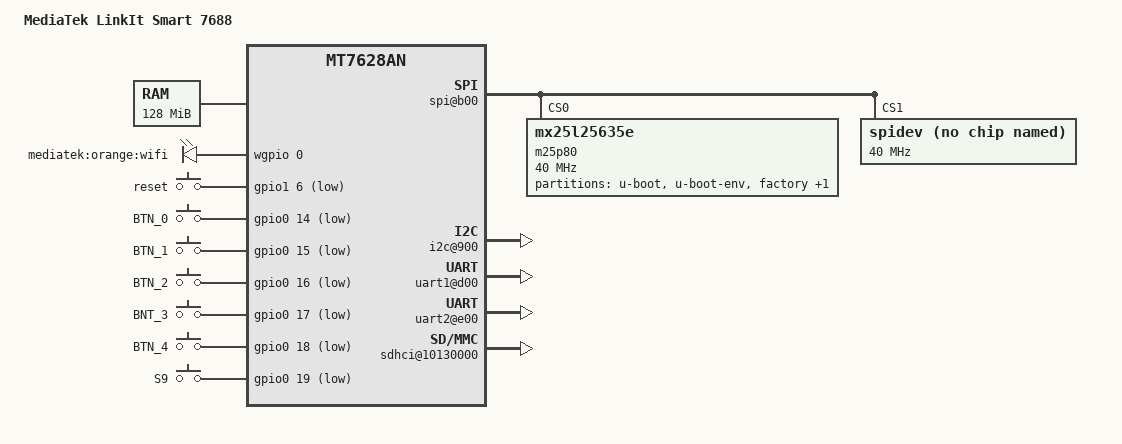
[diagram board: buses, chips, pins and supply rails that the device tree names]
/dts-v1/;

/include/ "mt7628an.dtsi"

/ {
	compatible = "mediatek,linkit", "mediatek,mt7628an-soc";
	model = "MediaTek LinkIt Smart 7688";

	chosen {
		bootargs = "console=ttyS2,57600";
	};

	memory@0 {
		device_type = "memory";
		reg = <0x0 0x8000000>;
	};

	pinctrl {
		state_default: pinctrl0 {
			gpio {
				ralink,group = "gpio";
				ralink,function = "gpio";
			};
			perst {
				ralink,group = "perst";
				ralink,function = "gpio";
			};
			refclk {
				ralink,group = "refclk";
				ralink,function = "gpio";
			};
			i2s {
				ralink,group = "i2s";
				ralink,function = "gpio";
			};
			spis {
				ralink,group = "spis";
				ralink,function = "gpio";
			};
			wled_kn {
				ralink,group = "wled_kn";
				ralink,function = "gpio";
			};
			wled_an {
				ralink,group = "wled_an";
				ralink,function = "wled_an";
			};
			wdt {
				ralink,group = "wdt";
				ralink,function = "gpio";
			};
		};
	};

	palmbus@10000000 {
		spi@b00 {
			status = "okay";

			pinctrl-names = "default";
			pinctrl-0 = <&spi_pins>, <&spi_cs1_pins>;

			m25p80@0 {
				#address-cells = <1>;
				#size-cells = <1>;
				compatible = "mx25l25635e";
				reg = <0 0>;
				linux,modalias = "m25p80", "mx25l25635e";
				spi-max-frequency = <40000000>;
				m25p,chunked-io = <31>;

				partition@0 {
					label = "u-boot";
					reg = <0x0 0x30000>;
					read-only;
				};

				partition@30000 {
					label = "u-boot-env";
					reg = <0x30000 0x10000>;
				};

				factory: partition@40000 {
					label = "factory";
					reg = <0x40000 0x10000>;
					//read-only;
				};

				partition@50000 {
					label = "firmware";
					reg = <0x50000 0x1fb0000>;
				};
			};

			spidev@1 {
				#address-cells = <1>;
				#size-cells = <1>;
				compatible = "spidev";
				reg = <1 0>;
				spi-max-frequency = <40000000>;
			};
		};

		i2c@900 {
			status = "okay";
		};

		uart1@d00 {
			status = "okay";
		};

		uart2@e00 {
			status = "okay";
		};

		pwm@5000 {
			status = "disabled";
		};
	};

	ethernet@10100000 {
		mtd-mac-address = <&factory 0x28>;
	};

	sdhci@10130000 {
		status = "okay";
		mediatek,cd-low;
//		mediatek,cd-poll;
	};

	bootstrap {
		compatible = "mediatek,linkit";

		status = "okay";
	};

	gpio-leds {
		compatible = "gpio-leds";
		wifi {
			label = "mediatek:orange:wifi";
			gpios = <&wgpio 0 0>;
			default-state = "on";
		};
	};

	gpio-keys-polled {
		compatible = "gpio-keys-polled";
		#address-cells = <1>;
		#size-cells = <0>;
		poll-interval = <20>;
		wps {
			label = "reset";
			gpios = <&gpio1 6 1>;
			linux,code = <0x211>;
		};
		BTN_0 {
			label = "BTN_0";
			gpios = <&gpio0 14 1>;		//GPIO14-S4
			linux,code = <0x100>;
		};
		BTN_1 {
			label = "BTN_1";
			gpios = <&gpio0 15 1>;		//GPIO15-S5
			linux,code = <0x101>;
		};
		BTN_2 {
			label = "BTN_2";
			gpios = <&gpio0 16 1>;		//GPIO16-S6
			linux,code = <0x102>;
		};
		BTN_3 {
			label = "BNT_3";
			gpios = <&gpio0 17 1>;		//GPIO17-S7
			linux,code = <0x103>;
		};
		BTN_4 {
			label = "BTN_4";
			gpios = <&gpio0 18 1>;		//GPIO18-S8
			linux,code = <0x104>;
		};
		BTN_5 {
			label = "S9";
			gpios = <&gpio0 19 1>;		//GPIO19-S9
			linux,code = <0x105>;
		};
	};

	wgpio: gpio-wifi {
		#address-cells = <1>;
		#size-cells = <0>;

		compatible = "mediatek,gpio-wifi";
		gpio-controller;
		#gpio-cells = <2>;
	};

};
